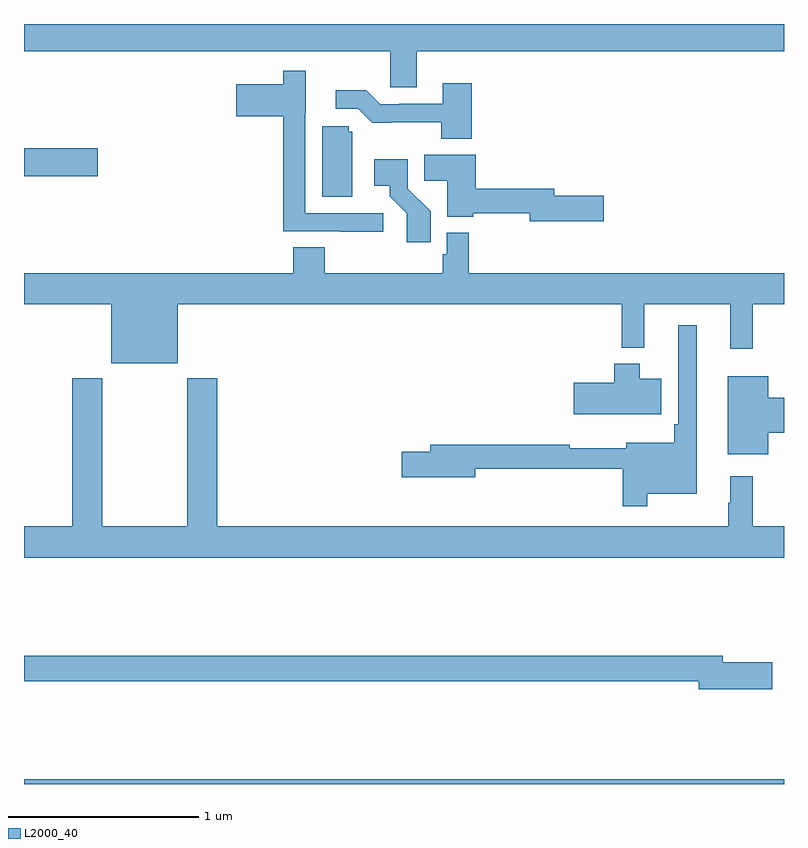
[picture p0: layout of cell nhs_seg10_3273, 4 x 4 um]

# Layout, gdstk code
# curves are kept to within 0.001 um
import gdstk
lib = gdstk.Library(unit=1e-6, precision=1e-09)
def R(c, l, rs):  # rectangles x0, y0, x1, y1
    for r in rs: c.add(gdstk.rectangle(r[:2], r[2:], *l))
def P(c, l, *ps):  # polygons
    for p in ps: c.add(gdstk.Polygon(p, *l))
L2000_40 = (2000, 40)

nhs_seg10_3273 = lib.new_cell('nhs_seg10_3273')
R(nhs_seg10_3273, L2000_40, [(289,1256.5,293,1256.524), (289,1259.699,289.387,1259.846)])
P(nhs_seg10_3273, L2000_40, [(291.067,1260.356),(293,1260.356),(293,1260.5),(289,1260.5),(289,1260.356),(290.928,1260.356),(290.928,1260.166),(291.067,1260.166)],
  [(290.89,1259.505),(290.481,1259.505),(290.481,1260.03),(290.482,1260.03),(290.482,1260.253),(290.365,1260.253),(290.365,1260.184),(290.118,1260.184),(290.118,1260.014),(290.365,1260.014),(290.365,1259.409),(290.665,1259.409),(290.665,1259.407),(290.89,1259.407)],
  [(291.356,1260.187),(291.203,1260.187),(291.203,1260.081),(290.974,1260.081),(290.974,1260.078),(290.874,1260.078),(290.801,1260.151),(290.64,1260.151),(290.64,1260.054),(290.76,1260.054),(290.833,1259.981),(291.196,1259.982),(291.196,1259.897),(291.356,1259.897)],
  [(290.728,1259.934),(290.709,1259.934),(290.709,1259.961),(290.57,1259.961),(290.57,1259.59),(290.728,1259.59)],
  [(292.051,1259.597),(291.79,1259.597),(291.79,1259.633),(291.377,1259.633),(291.377,1259.812),(291.106,1259.812),(291.106,1259.674),(291.227,1259.674),(291.227,1259.486),(291.364,1259.486),(291.364,1259.505),(291.662,1259.505),(291.662,1259.462),(292.051,1259.462)],
  [(291.14,1259.514),(291.021,1259.633),(291.021,1259.788),(290.844,1259.788),(290.844,1259.648),(290.924,1259.648),(290.924,1259.593),(291.015,1259.503),(291.015,1259.352),(291.14,1259.352)],
  [(289.81,1259.024),(292.147,1259.024),(292.147,1258.796),(292.265,1258.796),(292.265,1259.024),(292.718,1259.024),(292.718,1258.791),(292.835,1258.791),(292.835,1259.024),(293,1259.024),(293,1259.188),(291.341,1259.188),(291.341,1259.401),(291.225,1259.401),(291.225,1259.289),(291.205,1259.289),(291.205,1259.188),(290.582,1259.188),(290.582,1259.324),(290.417,1259.324),(290.417,1259.188),(289,1259.188),(289,1259.024),(289.46,1259.024),(289.46,1258.715),(289.81,1258.715)],
  [(292.279,1258.028),(292.54,1258.028),(292.54,1258.915),(292.443,1258.915),(292.443,1258.393),(292.423,1258.393),(292.423,1258.297),(292.169,1258.297),(292.169,1258.267),(291.873,1258.267),(291.873,1258.286),(291.137,1258.286),(291.137,1258.25),(290.988,1258.25),(290.988,1258.115),(291.376,1258.115),(291.376,1258.158),(292.15,1258.158),(292.15,1257.963),(292.279,1257.963)],
  [(292.354,1258.633),(292.24,1258.633),(292.24,1258.711),(292.106,1258.711),(292.106,1258.611),(291.894,1258.611),(291.894,1258.445),(292.354,1258.445)],
  [(292.918,1258.349),(293,1258.349),(293,1258.532),(292.918,1258.532),(292.918,1258.645),(292.703,1258.645),(292.703,1258.235),(292.918,1258.235)],
  [(293,1257.856),(292.835,1257.856),(292.835,1258.12),(292.718,1258.12),(292.718,1257.98),(292.707,1257.98),(292.707,1257.856),(290.018,1257.856),(290.018,1258.636),(289.858,1258.636),(289.858,1257.856),(289.413,1257.856),(289.413,1258.636),(289.253,1258.636),(289.253,1257.856),(289,1257.856),(289,1257.692),(293,1257.692)],
  [(292.939,1257.14),(292.678,1257.14),(292.678,1257.176),(289,1257.176),(289,1257.04),(292.55,1257.04),(292.55,1256.998),(292.939,1256.998)])

lib.write_gds('nhs_seg10_3273.gds')
